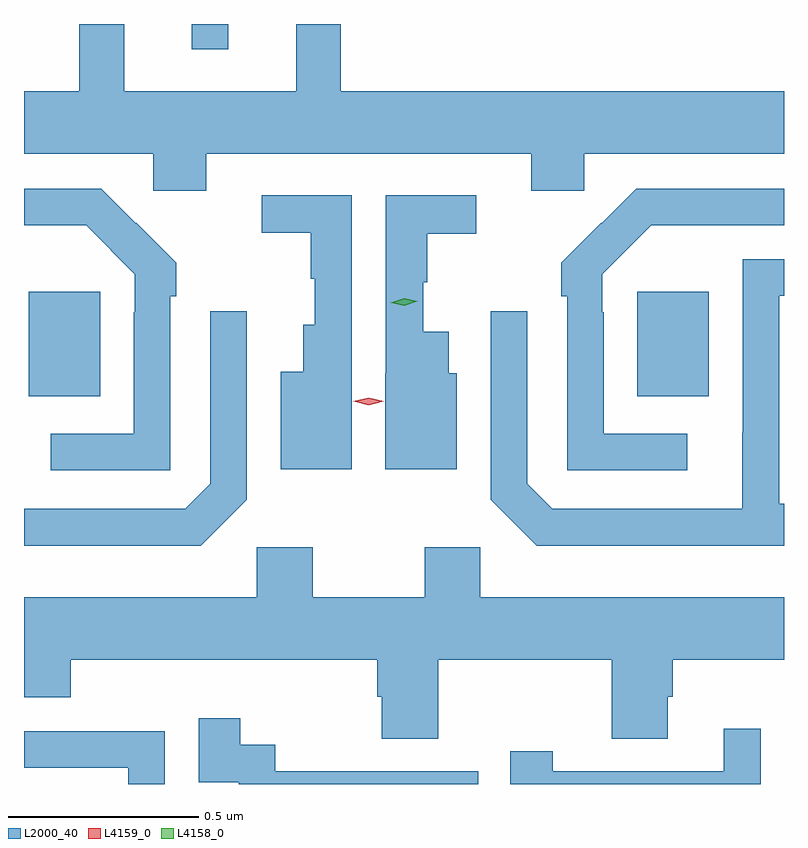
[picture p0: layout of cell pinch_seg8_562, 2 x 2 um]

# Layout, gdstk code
import gdstk
lib = gdstk.Library(unit=1e-6, precision=1e-09)
def R(c, l, rs):  # rectangles x0, y0, x1, y1
    for r in rs: c.add(gdstk.rectangle(r[:2], r[2:], *l))
def P(c, l, *ps):  # polygons
    for p in ps: c.add(gdstk.Polygon(p, *l))
L2000_40 = (2000, 40)
L4158_0 = (4158, 0)
L4159_0 = (4159, 0)

pinch_seg8_562 = lib.new_cell('pinch_seg8_562')
R(pinch_seg8_562, L2000_40, [(142.439,1109.201,142.627,1109.476), (144.041,1109.201,144.229,1109.476), (142.868,1110.114,142.965,1110.181)])
P(pinch_seg8_562, L2000_40, [(142.906,1109.84),(143.762,1109.84),(143.762,1109.742),(143.901,1109.742),(143.901,1109.84),(144.427,1109.84),(144.427,1110.004),(143.261,1110.004),(143.261,1110.181),(143.144,1110.181),(143.144,1110.004),(142.691,1110.004),(142.691,1110.181),(142.573,1110.181),(142.573,1110.004),(142.427,1110.004),(142.427,1109.84),(142.767,1109.84),(142.767,1109.742),(142.906,1109.742)],
  [(144.172,1109.103),(143.952,1109.103),(143.952,1109.423),(143.949,1109.423),(143.949,1109.523),(144.078,1109.652),(144.427,1109.652),(144.427,1109.748),(144.038,1109.748),(143.947,1109.657),(143.946,1109.658),(143.841,1109.553),(143.841,1109.465),(143.856,1109.465),(143.856,1109.007),(144.172,1109.007)],
  [(142.812,1109.465),(142.827,1109.465),(142.827,1109.553),(142.722,1109.658),(142.721,1109.657),(142.63,1109.748),(142.427,1109.748),(142.427,1109.652),(142.591,1109.652),(142.719,1109.523),(142.719,1109.423),(142.716,1109.423),(142.716,1109.103),(142.497,1109.103),(142.497,1109.007),(142.812,1109.007)],
  [(143.566,1109.262),(143.545,1109.262),(143.545,1109.371),(143.477,1109.371),(143.477,1109.502),(143.488,1109.502),(143.488,1109.629),(143.617,1109.629),(143.617,1109.73),(143.379,1109.73),(143.379,1109.262),(143.378,1109.262),(143.378,1109.009),(143.566,1109.009)],
  [(143.29,1109.262),(143.289,1109.262),(143.289,1109.73),(143.052,1109.73),(143.052,1109.632),(143.181,1109.632),(143.181,1109.511),(143.192,1109.511),(143.192,1109.389),(143.162,1109.389),(143.162,1109.266),(143.102,1109.266),(143.102,1109.009),(143.29,1109.009)],
  [(144.427,1108.918),(144.414,1108.918),(144.414,1109.466),(144.427,1109.466),(144.427,1109.562),(144.318,1109.562),(144.318,1109.105),(144.317,1109.105),(144.317,1108.905),(143.817,1108.905),(143.751,1108.971),(143.751,1109.425),(143.655,1109.425),(143.655,1108.929),(143.776,1108.808),(144.427,1108.808)],
  [(143.013,1108.929),(143.013,1109.425),(142.917,1109.425),(142.917,1108.971),(142.851,1108.905),(142.427,1108.905),(142.427,1108.808),(142.892,1108.808)],
  [(143.517,1108.508),(143.974,1108.508),(143.974,1108.3),(144.121,1108.3),(144.121,1108.41),(144.134,1108.41),(144.134,1108.508),(144.427,1108.508),(144.427,1108.672),(143.628,1108.672),(143.628,1108.804),(143.482,1108.804),(143.482,1108.672),(143.187,1108.672),(143.187,1108.804),(143.04,1108.804),(143.04,1108.672),(142.427,1108.672),(142.427,1108.409),(142.55,1108.409),(142.55,1108.508),(143.357,1108.508),(143.357,1108.41),(143.369,1108.41),(143.369,1108.3),(143.517,1108.3)],
  [(143.622,1108.215),(143.088,1108.215),(143.088,1108.284),(142.996,1108.284),(142.996,1108.354),(142.887,1108.354),(142.887,1108.185),(142.992,1108.185),(142.992,1108.181),(143.622,1108.181)],
  [(144.366,1108.327),(144.269,1108.327),(144.269,1108.215),(143.818,1108.215),(143.818,1108.267),(143.707,1108.267),(143.707,1108.181),(144.366,1108.181)],
  [(142.797,1108.32),(142.427,1108.32),(142.427,1108.224),(142.701,1108.224),(142.701,1108.181),(142.797,1108.181)])
P(pinch_seg8_562, L4158_0, [(143.428,1109.439),(143.392,1109.448),(143.392,1109.448),(143.392,1109.448),(143.427,1109.459),(143.462,1109.451),(143.463,1109.451),(143.462,1109.451)])
P(pinch_seg8_562, L4159_0, [(143.334,1109.178),(143.294,1109.188),(143.294,1109.188),(143.294,1109.188),(143.334,1109.198),(143.374,1109.188),(143.374,1109.188),(143.374,1109.188)])

lib.write_gds('pinch_seg8_562.gds')
